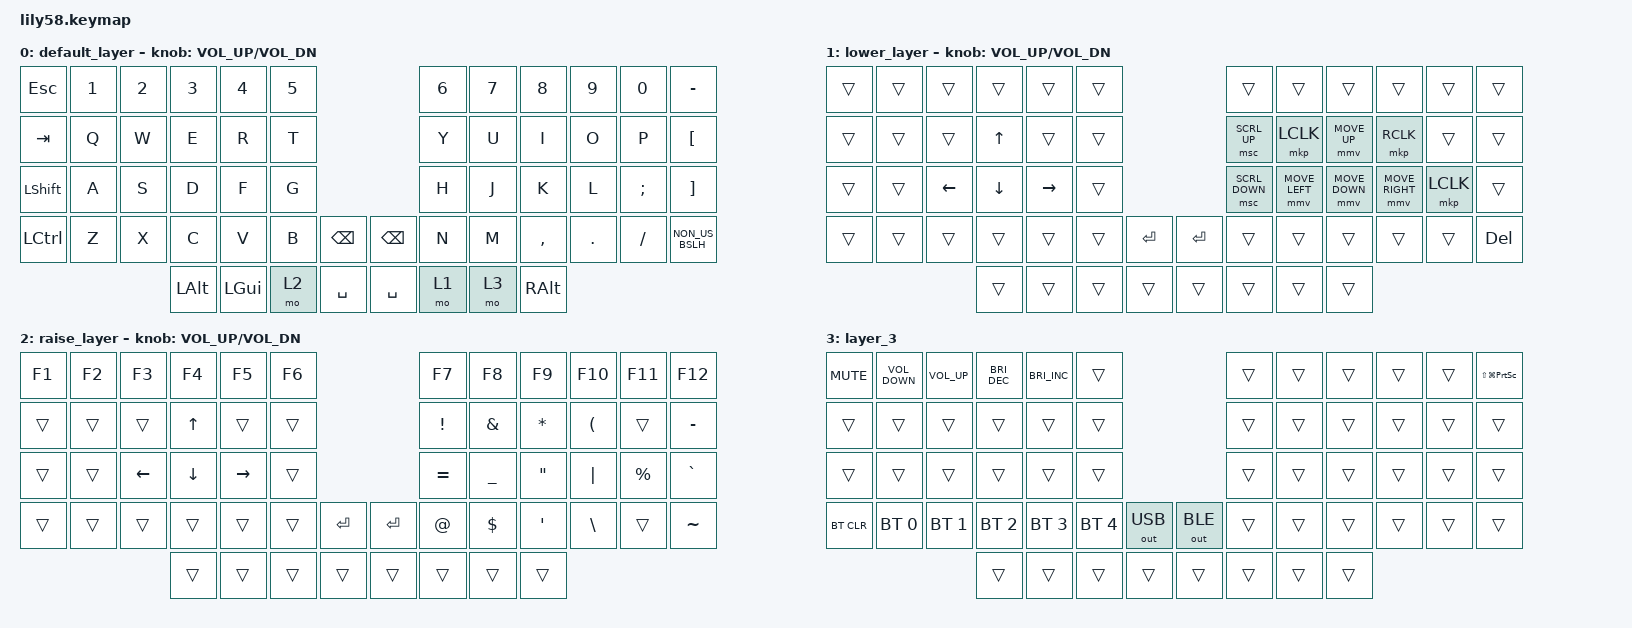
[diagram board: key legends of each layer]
/*
 * Copyright (c) 2020 The ZMK Contributors
 *
 * SPDX-License-Identifier: MIT
 */

#define ZMK_POINTING_DEFAULT_MOVE_VAL 1500 // default: 600
#define ZMK_POINTING_DEFAULT_SCRL_VAL 20 // default: 10

#include <behaviors.dtsi>
#include <dt-bindings/zmk/bt.h>
#include <dt-bindings/zmk/keys.h>
#include <dt-bindings/zmk/outputs.h>
#include <dt-bindings/zmk/pointing.h>

/ {
    combos {
        compatible = "zmk,combos";

        borrarbackspace {
            bindings = <&kp BACKSPACE>;
            key-positions = <31 32>;
        };

        Arrobaaltizq {
            bindings = <&kp RA(N2)>;
            key-positions = <50 2>;
        };

        leftbksp {
            bindings = <&kp BACKSPACE>;
            key-positions = <28 27>;
        };
    };

    keymap {
        compatible = "zmk,keymap";

        default_layer {
            // ------------------------------------------------------------------------------------------------------------
            // |  ESC  |  1  |  2  |  3   |  4   |  5   |                   |  6   |  7    |  8    |  9   |   0   |   `   |
            // |  TAB  |  Q  |  W  |  E   |  R   |  T   |                   |  Y   |  U    |  I    |  O   |   P   |   -   |
            // |  CTRL |  A  |  S  |  D   |  F   |  G   |                   |  H   |  J    |  K    |  L   |   ;   |   '   |
            // | SHIFT |  Z  |  X  |  C   |  V   |  B   |   "["  |  |  "]"  |  N   |  M    |  ,    |  .   |   /   | SHIFT |
            //                     | ALT  | GUI  | LOWER|  SPACE |  | ENTER | RAISE| BSPC  | GUI   |

            bindings = <
&kp ESC           &kp N1  &kp N2  &kp N3    &kp N4        &kp N5                                  &kp N6  &kp N7  &kp N8         &kp N9   &kp N0    &kp MINUS
&kp TAB           &kp Q   &kp W   &kp E     &kp R         &kp T                                   &kp Y   &kp U   &kp I          &kp O    &kp P     &kp LBKT
&kp LEFT_SHIFT    &kp A   &kp S   &kp D     &kp F         &kp G                                   &kp H   &kp J   &kp K          &kp L    &kp SEMI  &kp RBKT
&kp LEFT_CONTROL  &kp Z   &kp X   &kp C     &kp V         &kp B   &kp BACKSPACE    &kp BACKSPACE  &kp N   &kp M   &kp COMMA      &kp DOT  &kp FSLH  &kp NON_US_BSLH
                                  &kp LALT  &kp LEFT_GUI  &mo 2   &kp SPACE        &kp SPACE      &mo 1   &mo 3   &kp RIGHT_ALT
            >;

            sensor-bindings = <&inc_dec_kp C_VOL_UP C_VOL_DN>;
        };

        lower_layer {
            // ------------------------------------------------------------------------------------------------------------
            // | BTCLR | BT1 | BT2 |  BT3 |  BT4 |  BT5 |                   |      |       |       |      |       |       |
            // |  F1   |  F2 |  F3 |  F4  |  F5  |  F6  |                   |  F7  |  F8   |  F9   |  F10 |  F11  |  F12  |
            // |   `   |  !  |  @  |  #   |  $   |  %   |                   |  ^   |  &    |  *    |  (   |   )   |   ~   |
            // |       |     |     |      |      |      |        |  |       |      |  _    |  +    |  {   |   }   |  "|"  |
            //                     |      |      |      |        |  |       |      |       |       |

            bindings = <
&trans  &trans  &trans          &trans          &trans           &trans                         &trans          &trans          &trans          &trans           &trans     &trans
&trans  &trans  &trans          &kp UP_ARROW    &trans           &trans                         &msc SCRL_UP    &mkp LCLK       &mmv MOVE_UP    &mkp RCLK        &trans     &trans
&trans  &trans  &kp LEFT_ARROW  &kp DOWN_ARROW  &kp RIGHT_ARROW  &trans                         &msc SCRL_DOWN  &mmv MOVE_LEFT  &mmv MOVE_DOWN  &mmv MOVE_RIGHT  &mkp LCLK  &trans
&trans  &trans  &trans          &trans          &trans           &trans  &kp RET    &kp RETURN  &trans          &trans          &trans          &trans           &trans     &kp DELETE
                                &trans          &trans           &trans  &trans     &trans      &trans          &trans          &trans
            >;

            sensor-bindings = <&inc_dec_kp C_VOL_UP C_VOL_DN>;
        };

        raise_layer {
            // ------------------------------------------------------------------------------------------------------------
            // |       |     |     |      |      |      |                   |      |       |       |      |       |       |
            // |   `   |  1  |  2  |  3   |  4   |  5   |                   |  6   |   7   |   8   |  9   |   0   |       |
            // |   F1  |  F2 |  F3 |  F4  |  F5  |  F6  |                   |      |   <-  |   v   |  ^   |  ->   |       |
            // |   F7  |  F8 |  F9 |  F10 |  F11 |  F12 |        |  |       |  +   |   -   |   =   |  [   |   ]   |   \   |
            //                     |      |      |      |        |  |       |      |       |       |

            bindings = <
&kp F1  &kp F2  &kp F3          &kp F4          &kp F5           &kp F6                            &kp F7     &kp F8      &kp F9    &kp F10        &kp F11      &kp F12
&trans  &trans  &trans          &kp UP_ARROW    &trans           &trans                            &kp EXCL   &kp AMPS    &kp STAR  &kp LPAR       &trans       &kp MINUS
&trans  &trans  &kp LEFT_ARROW  &kp DOWN_ARROW  &kp RIGHT_ARROW  &trans                            &kp EQUAL  &kp UNDER   &kp DQT   &kp PIPE       &kp PERCENT  &kp GRAVE
&trans  &trans  &trans          &trans          &trans           &trans  &kp RETURN    &kp RETURN  &kp AT     &kp DOLLAR  &kp APOS  &kp BACKSLASH  &trans       &kp TILDE
                                &trans          &trans           &trans  &trans        &trans      &trans     &trans      &trans
            >;

            sensor-bindings = <&inc_dec_kp C_VOL_UP C_VOL_DN>;
        };

        layer_3 {
            bindings = <
&kp K_MUTE  &kp K_VOLUME_DOWN  &kp K_VOLUME_UP  &kp C_BRIGHTNESS_DEC  &kp C_BRIGHTNESS_INC  &trans                                      &trans  &trans  &trans  &trans  &trans  &kp LS(LG(PRINTSCREEN))
&trans      &trans             &trans           &trans                &trans                &trans                                      &trans  &trans  &trans  &trans  &trans  &trans
&trans      &trans             &trans           &trans                &trans                &trans                                      &trans  &trans  &trans  &trans  &trans  &trans
&bt BT_CLR  &bt BT_SEL 0       &bt BT_SEL 1     &bt BT_SEL 2          &bt BT_SEL 3          &bt BT_SEL 4  &out OUT_USB    &out OUT_BLE  &trans  &trans  &trans  &trans  &trans  &trans
                                                &trans                &trans                &trans        &trans          &trans        &trans  &trans  &trans
            >;
        };
    };
};
